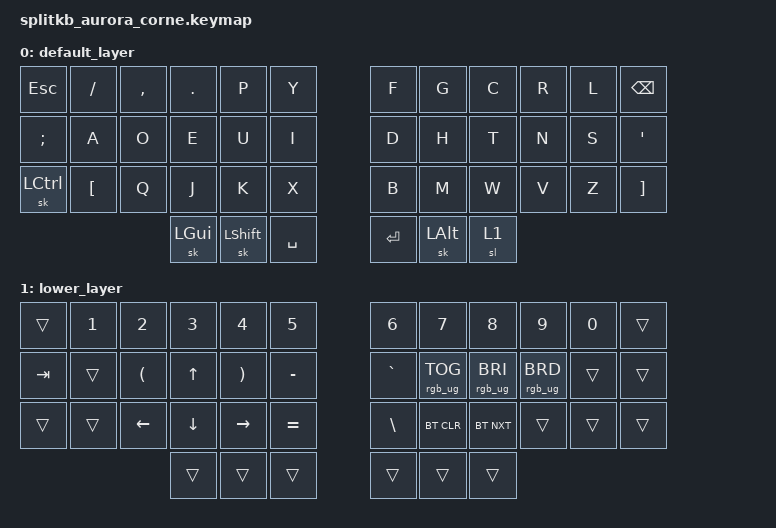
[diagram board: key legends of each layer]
/*
 * Copyright (c) 2020 The ZMK Contributors
 *
 * SPDX-License-Identifier: MIT
 */

#include <behaviors.dtsi>
#include <dt-bindings/zmk/keys.h>
#include <dt-bindings/zmk/rgb.h>
#include <dt-bindings/zmk/bt.h>

/ {
        keymap {
                compatible = "zmk,keymap";

                default_layer {
// -----------------------------------------------------------------------------------------
// |  ESC |  ,  |  .  |  P  |   Y  |  /  |   | BSPC |  F  |  G  |  C  |  R  | L |
// |   A  |  O  |  E  |  U  |   I  |  ;  |   |   '  |  D  |  H  |  T  |  N  | S |
// | CTRL |  Q  |  J  |  K  |   X  |  [  |   |   ]  |  B  |  M  |  W  |  V  | Z |
//                    | NUM | SHFT | SPC |   |  RET | ALT | GUI |
//                      bindings = <
// &kp ESC   &kp COMMA &kp DOT &kp P &kp Y     &kp FSLH    &kp BSPC &kp F    &kp G    &kp C &kp R &kp L
// &kp A     &kp O     &kp E   &kp U &kp I     &kp SEMI    &kp SQT  &kp D    &kp H    &kp T &kp N &kp S
// &sk LCTRL &kp Q     &kp J   &kp K &kp X     &kp LBKT    &kp RBKT &kp B    &kp M    &kp W &kp V &kp Z
//                             &sl 1 &sk LSHFT &kp SPACE   &kp RET  &sk LALT &sk LGUI
//                      >;
// -----------------------------------------------------------------------------------------
// |  ESC |  /  |  ,  |  .  |  P  |   Y  |   |  F  |  G  |  C  |  R  | L | BSPC |
// |   ;  |  A  |  O  |  E  |  U  |   I  |   |  D  |  H  |  T  |  N  | S |   '  |
// | CTRL |  [  |  Q  |  J  |  K  |   X  |   |  B  |  M  |  W  |  V  | Z |   ]  |
//                    | GUI | SHFT | SPC |   | RET | ALT | NUM |
                        bindings = <
   &kp ESC   &kp FSLH &kp COMMA &kp DOT  &kp P     &kp Y        &kp F    &kp G    &kp C &kp R &kp L &kp BSPC
   &kp SEMI  &kp A    &kp O     &kp E    &kp U     &kp I        &kp D    &kp H    &kp T &kp N &kp S &kp SQT
   &sk LCTRL &kp LBKT &kp Q     &kp J    &kp K     &kp X        &kp B    &kp M    &kp W &kp V &kp Z &kp RBKT
                                &sk LGUI &sk LSHFT &kp SPACE    &kp RET  &sk LALT &sl 1
                        >;
                };
                lower_layer {
// -----------------------------------------------------------------------------------------
// |  1  |  2  |  3  |  4  |  5  |  \  |   | BSPC |  6  |  7  |  8  | 9 | 0 |
// | TAB |     |  (  | UP  |  )  |  -  |   |  `   | RGB | BRI | BRD |   |   |
// |     |     | LFT | DWN | RGT |  =  |   |      | CLR | NXT |     |   |   |
//                   |     |     |     |   | SHFT |     |     |
//                      bindings = <
// &kp N1  &kp N2 &kp N3    &kp N4   &kp N5    &kp BSLH       &kp BSPC  &kp N6          &kp N7          &kp N8          &kp N9 &kp N0
// &kp TAB &trans &kp LPAR  &kp UP   &kp RPAR  &kp MINUS      &kp GRAVE &rgb_ug RGB_TOG &rgb_ug RGB_BRI &rgb_ug RGB_BRD &trans &trans
// &trans  &trans &kp LEFT  &kp DOWN &kp RIGHT &kp EQUAL      &trans    &bt BT_CLR      &bt BT_NXT      &trans          &trans &trans
//                          &trans   &trans    &trans         &sk LSHFT &trans          &trans
//                      >;
// -----------------------------------------------------------------------------------------
// |     |  1  |  2  |  3  |  4  |  5  |   | 6 |  7  |  8  |  9  | 0 |   |
// | TAB |     |  (  | UP  |  )  |  -  |   | ` | RGB | BRI | BRD |   |   |
// |     |     | LFT | DWN | RGT |  =  |   | \ | CLR | NXT |     |   |   |
//                   |     |     |     |   |   |     |     |
                        bindings = <
   &trans  &kp N1 &kp N2    &kp N3   &kp N4    &kp N5         &kp N6    &kp N7          &kp N8          &kp N9          &kp N0 &trans
   &kp TAB &trans &kp LPAR  &kp UP   &kp RPAR  &kp MINUS      &kp GRAVE &rgb_ug RGB_TOG &rgb_ug RGB_BRI &rgb_ug RGB_BRD &trans &trans
   &trans  &trans &kp LEFT  &kp DOWN &kp RIGHT &kp EQUAL      &kp BSLH  &bt BT_CLR      &bt BT_NXT      &trans          &trans &trans
                            &trans   &trans    &trans         &trans    &trans          &trans
                        >;
                };

//              raise_layer {
// -----------------------------------------------------------------------------------------
// |  TAB |  !  |  @  |  #  |  $  |  %  |   |  ^  |  &  |  *  |  (  |  )  | BSPC |
// | CTRL |     |     |     |     |     |   |  -  |  =  |  [  |  ]  |  \  |  `   |
// | SHFT |     |     |     |     |     |   |  _  |  +  |  {  |  }  | "|" |  ~   |
//                    | GUI |     | SPC |   | ENT |     | ALT |
//                      bindings = <
//   &kp  TAB  &kp EXCL &kp AT &kp HASH &kp DLLR &kp PRCNT   &kp CARET &kp AMPS  &kp ASTRK &kp LPAR &kp RPAR &kp BSPC
//   &kp LCTRL &trans   &trans &trans   &trans   &trans      &kp MINUS &kp EQUAL &kp LBKT  &kp RBKT &kp BSLH &kp GRAVE
//   &kp LSHFT &trans   &trans &trans   &trans   &trans      &kp UNDER &kp PLUS  &kp LBRC  &kp RBRC &kp PIPE &kp TILDE
//                             &kp LGUI &trans   &kp SPACE   &kp RET   &trans    &kp RALT
//                        >;
//                };
        };
};
